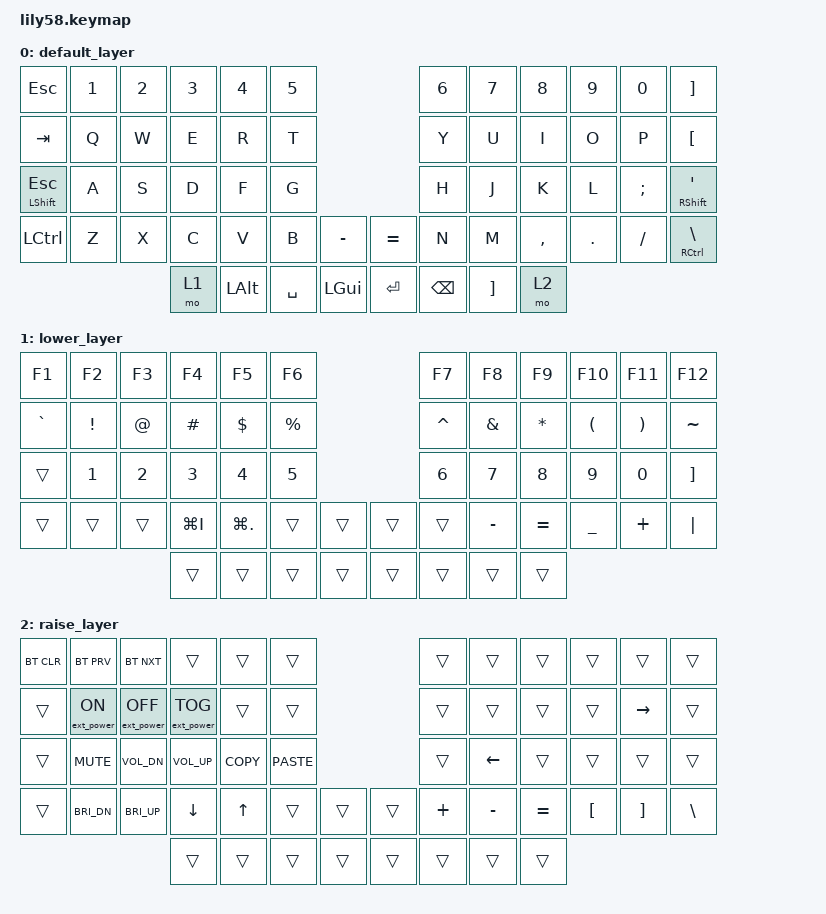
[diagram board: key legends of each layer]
/*
 * Copyright (c) 2020 The ZMK Contributors
 *
 * SPDX-License-Identifier: MIT
 */

#include <behaviors.dtsi>
#include <dt-bindings/zmk/keys.h>
#include <dt-bindings/zmk/bt.h>
#include <dt-bindings/zmk/ext_power.h>

/ {
    keymap {
        compatible = "zmk,keymap";

        default_layer {
// ------------------------------------------------------------------------------------------------------------
// |  ESC  |  1  |  2  |  3   |  4   |  5   |                   |  6   |  7    |  8    |  9   |   0   |  "]"  |
// |  TAB  |  Q  |  W  |  E   |  R   |  T   |                   |  Y   |  U    |  I    |  O   |   P   |  "["  |
// | SHIFT/ESC |  A  |  S  |  D   |  F   |  G   |                   |  H   |  J    |  K    |  L   |   ;   |   '   |
// | CTRL  |  Z  |  X  |  C   |  V   |  B   |   "-"  |  |  "="  |  N   |  M    |  ,    |  .   |   /   |  \  |
//                     | LOWER  | ALT  | CMD |  SPACE |  | ENTER | BSPC | RSHFT  | RAISE |
            bindings = <
&kp ESC        &kp N1 &kp N2 &kp N3   &kp N4   &kp N5                     &kp N6 &kp N7   &kp N8    &kp N9  &kp N0   &kp RBKT
&kp TAB        &kp Q  &kp W  &kp E    &kp R    &kp T                      &kp Y  &kp U    &kp I     &kp O   &kp P    &kp LBKT
&mt LSHFT ESC &kp A  &kp S  &kp D    &kp F    &kp G                      &kp H  &kp J    &kp K     &kp L   &kp SEMI &mt RSHFT SQT
&kp LCTRL      &kp Z  &kp X  &kp C    &kp V    &kp B  &kp MINUS   &kp EQUAL &kp N  &kp M    &kp COMMA &kp DOT &kp FSLH &mt RCTRL BSLH
                             &mo 1 &kp LALT &kp SPACE &kp LGUI    &kp RET  &kp BSPC  &kp RBKT &mo 2
            >;

            // sensor-bindings = <&inc_dec_kp C_VOL_UP C_VOL_DN>;
        };

        lower_layer {
// ------------------------------------------------------------------------------------------------------------
// |   F1   |  F2 |  F3 |  F4  |  F5 |   F6  |                   |  F7  |  F8   |  F9   |  F10 |  F11  |  F12  |
// |   `   |  !  |  @  |  #   |  $   |   %   |                   |  ^   |  &    |  *    |  (   |   )   |   ~   |
// |       |  1  |  2  |  3   |  4   |   5   |                   |  6   |  7    |  8    |  9   |   0   |  "]"  |
// |       |     |     |      | copy | paste |        |  |       |      |  -    |  =    |  _   |   +   |  "|"  |
//                     |      |      |       |        |  |       |      |       |       |
            bindings = <
&kp F1     &kp F2           &kp F3            &kp F4            &kp F5          &kp F6                       &kp F7    &kp F8    &kp F9    &kp F10   &kp F11   &kp F12
&kp GRAVE  &kp EXCL         &kp AT            &kp HASH          &kp DOLLAR      &kp PRCNT                    &kp CARET &kp AMPS  &kp ASTRK &kp LPAR  &kp RPAR  &kp TILDE
&trans     &kp N1           &kp N2            &kp N3            &kp N4          &kp N5                       &kp N6    &kp N7    &kp N8    &kp N9    &kp N0    &kp RBKT
&trans     &trans           &trans            &kp LG(I)         &kp LG(DOT)       &trans    &trans   &trans    &trans    &kp MINUS &kp EQUAL  &kp UNDER  &kp PLUS  &kp PIPE
                                              &trans            &trans       &trans    &trans   &trans    &trans    &trans    &trans
            >;

            // sensor-bindings = <&inc_dec_kp C_VOL_UP C_VOL_DN>;
        };

        raise_layer {
// ------------------------------------------------------------------------------------------------------------
// | BTCLR |   BTPRV        |   BTNXT       |          |         |          |                 |      |       |       |      |       |       |
// |       |   EPON         |       EPOFF   |  EPTOG   |         |          |                 |      |       |       |      |  ->   |       |
// |       |   CMUTE        |   CVOLDN      |  CVOLUP  |    COPY |    PASTE |                 |      |   <-  |       |      |       |       |
// |       |     CBRIDN    |    CBRIUP      |    v     |    ^    |          |      |  |       |  +   |   -   |   =   |  [   |   ]   |   \   |
//                                          |          |         |          |      |  |       |      |       |       |
            bindings = <
&bt BT_CLR &bt BT_PRV       &bt BT_NXT        &trans            &trans          &trans                       &trans      &trans    &trans    &trans   &trans    &trans
&trans     &ext_power EP_ON &ext_power EP_OFF &ext_power EP_TOG &trans          &trans                       &trans      &trans    &trans    &trans   &kp RIGHT &trans
&trans     &kp C_MUTE       &kp C_VOL_DN      &kp C_VOL_UP      &kp K_COPY   &kp K_PASTE                     &trans      &kp LEFT  &trans    &trans   &trans    &trans
&trans     &kp C_BRI_DN     &kp C_BRI_UP      &kp DOWN          &kp UP          &trans    &trans   &trans    &kp PLUS    &kp MINUS &kp EQUAL &kp LBKT &kp RBKT  &kp BSLH
                                              &trans            &trans          &trans    &trans   &trans    &trans      &trans    &trans
            >;

            // sensor-bindings = <&inc_dec_kp C_VOL_UP C_VOL_DN>;
        };
    };
};
